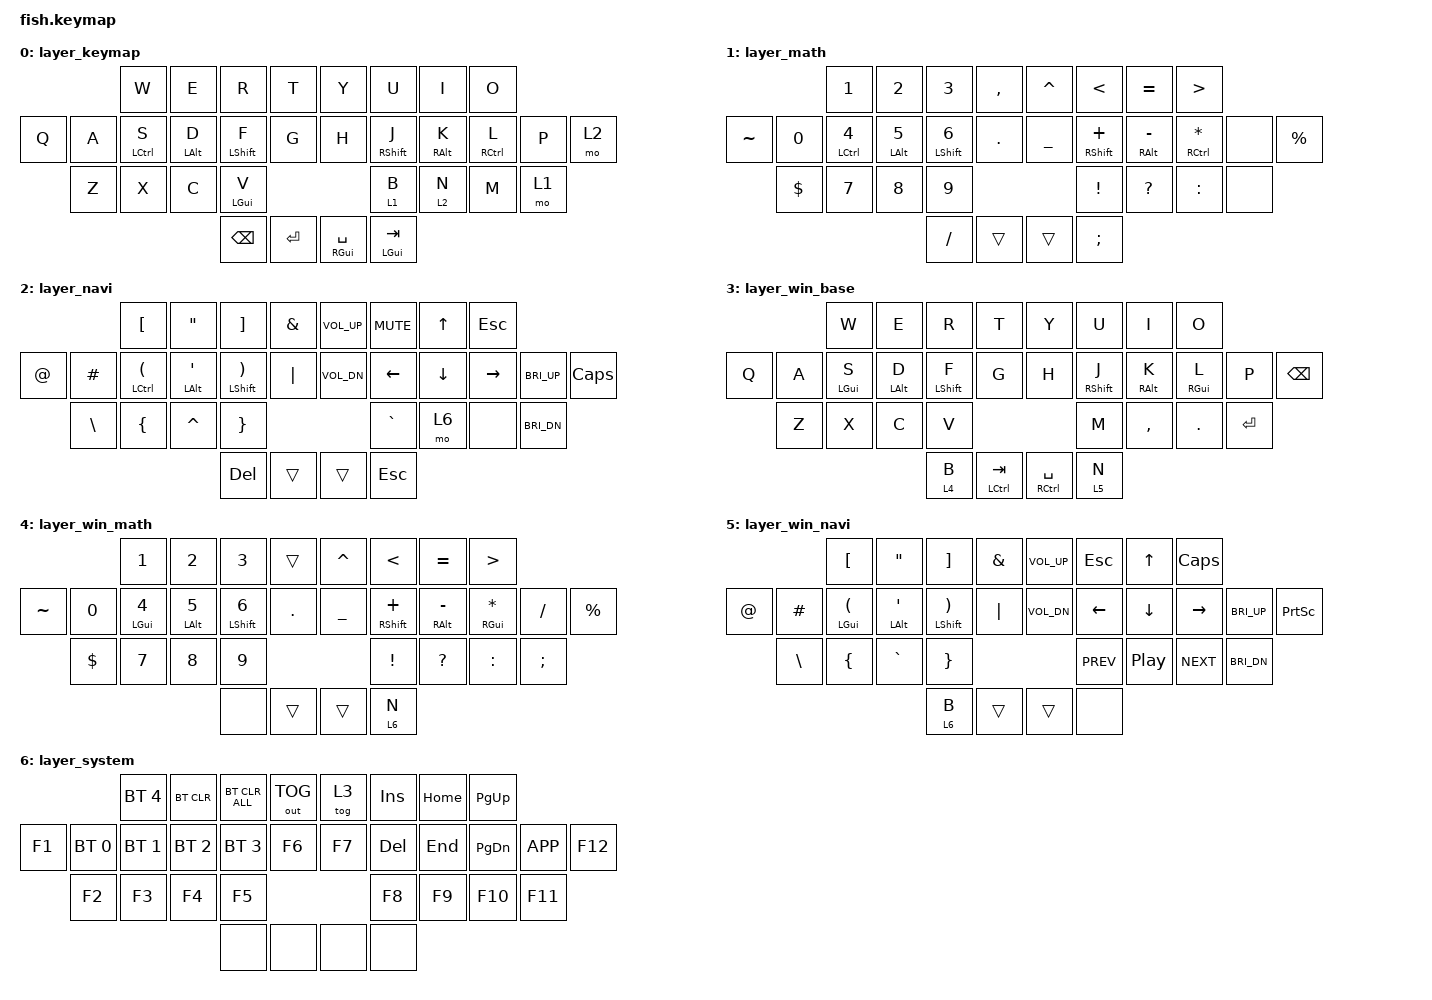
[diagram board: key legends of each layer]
// キーマップを更新する方法は https://o24.works/fish/guide を参照
// 視覚的に編集するには https://o24.works/fish/editor を参照


// 定義を呼んでくる
#include <behaviors.dtsi>
#include <dt-bindings/zmk/keys.h>
#include <dt-bindings/zmk/mouse.h>
#include <dt-bindings/zmk/bt.h>
#include <dt-bindings/zmk/outputs.h>
#include <dt-bindings/zmk/pointing.h>


// 特殊入力の挙動を調整できる

&mt {
    flavor = "tap-preferred";
    quick-tap-ms = <200>;
    require-prior-idle-ms = <150>;
};

&lt {
    flavor = "balanced";
    tapping-term-ms = <175>;
    quick-tap-ms = <200>;
};

&sk {
};

&sl {
};

&caps_word {
};

&key_repeat {
};


/ {
    // 独自の入力を定義できる（上級者向け）

    behaviors {
    };

    macros {
    };

    conditional_layers {
    };


    // 複数キーの同時押しに特別の入力を設定できる
    // キー番号早見表：
    //       0  1  2  3     4  5  6  7
    // 8  9 10 11 12 13    14 15 16 17 18 19
    //   20 21 22 23          24 25 26 27
    //            28 29    30 31

    combos {
        compatible = "zmk,combos";
        timeout-ms = <100>;
        require-prior-idle-ms = <150>;

        combo_lang2 {
            key-positions = <21 22>;
            bindings = <&kp LANG2>;
        };

        combo_lang1 {
            key-positions = <25 26>;
            bindings = <&kp LANG1>;
        };

        combo_reset_L {
            key-positions = <3 8 13>;
            bindings = <&bootloader>;
        };

        combo_reset_R {
            key-positions = <4 14 19>;
            bindings = <&bootloader>;
        };

        combo_none {
            key-positions = <11 16>;
            bindings = <&none>;
        };

        combo_right {
            key-positions = <11 16 19>;
            bindings = <&kp RIGHT>;
        };

        combo_left {
            key-positions = <8 11 16>;
            bindings = <&kp LEFT>;
        };
    };
    

    // キーに入力を割り当てる
    // 型（&...）は https://zmk.dev/docs/behaviors/... を参照
    // キーコードは https://zmk.dev/docs/codes/... を参照

    keymap {
        compatible = "zmk,keymap";

        layer_keymap {
            bindings = <
                        &kp W       &kp E       &kp R       &kp T               &kp Y       &kp U       &kp I       &kp O       
&kp Q       &kp A       &mt LCTRL S &mt LALT D  &mt LSHFT F &kp G               &kp H       &mt RSHFT J &mt RALT K  &mt RCTRL L &kp P       &mo 2       
            &kp Z       &kp X       &kp C       &mt LGUI V                                  &lt 1 B     &lt 2 N     &kp M       &mo 1       
                                                &kp BSPC    &kp RET             &mt RGUI SPACE &mt LGUI TAB 
            >;
        };

        layer_math {
            bindings = <
                        &kp N1      &kp N2      &kp N3      &kp COMMA           &kp CARET   &kp LT      &kp EQUAL   &kp GT      
&kp TILDE   &kp N0      &mt LCTRL N4 &mt LALT N5 &mt LSHFT N6 &kp DOT           &kp UNDER   &mt RSHFT PLUS &mt RALT MINUS &mt RCTRL STAR &none &kp PRCNT 
            &kp DLLR    &kp N7      &kp N8      &kp N9                                      &kp EXCL    &kp QMARK   &kp COLON   &none       
                                                &kp FSLH    &trans              &trans      &kp SEMI    
            >;
        };

        layer_navi {
            bindings = <
                        &kp LBKT    &kp DQT     &kp RBKT    &kp AMPS            &kp C_VOL_UP &kp C_MUTE &kp UP      &kp ESC     
&kp AT      &kp HASH    &mt LCTRL LPAR &mt LALT SQT &mt LSHFT RPAR &kp PIPE     &kp C_VOL_DN &kp LEFT   &kp DOWN    &kp RIGHT   &kp C_BRI_UP &kp CAPS   
            &kp BSLH    &kp LBRC    &kp CARET   &kp RBRC                                    &kp GRAVE  &mo 6    &none  &kp C_BRI_DN 
                                                &kp DEL     &trans              &trans      &kp ESC     
            >;
        };

        layer_win_base {
            bindings = <
                        &kp W       &kp E       &kp R       &kp T               &kp Y       &kp U       &kp I       &kp O       
&kp Q       &kp A       &mt LGUI S  &mt LALT D  &mt LSHFT F &kp G               &kp H       &mt RSHFT J &mt RALT K  &mt RGUI L  &kp P       &kp BSPC    
            &kp Z       &kp X       &kp C       &kp V                                       &kp M       &kp COMMA   &kp DOT     &kp RET     
                                                &lt 4 B     &mt LCTRL TAB       &mt RCTRL SPACE &lt 5 N 
            >;
        };

        layer_win_math {
            bindings = <
                        &kp N1      &kp N2      &kp N3      &trans              &kp CARET   &kp LT      &kp EQUAL   &kp GT      
&kp TILDE   &kp N0      &mt LGUI N4 &mt LALT N5 &mt LSHFT N6 &kp DOT            &kp UNDER   &mt RSHFT PLUS &mt RALT MINUS &mt RGUI STAR &kp FSLH &kp PRCNT 
            &kp DLLR    &kp N7      &kp N8      &kp N9                                      &kp EXCL    &kp QMARK   &kp COLON   &kp SEMI    
                                                &none       &trans              &trans      &lt 6 N     
            >;
        };

        layer_win_navi {
            bindings = <
                        &kp LBKT    &kp DQT     &kp RBKT    &kp AMPS            &kp C_VOL_UP &kp ESC    &kp UP      &kp CAPS    
&kp AT      &kp HASH    &mt LGUI LPAR &mt LALT SQT &mt LSHFT RPAR &kp PIPE      &kp C_VOL_DN &kp LEFT   &kp DOWN    &kp RIGHT   &kp C_BRI_UP &kp PSCRN  
            &kp BSLH    &kp LBRC    &kp GRAVE   &kp RBRC                                    &kp C_PREV  &kp C_PP    &kp C_NEXT  &kp C_BRI_DN 
                                                &lt 6 B     &trans              &trans      &none       
            >;
        };

        layer_system {
            bindings = <
                        &bt BT_SEL 4 &bt BT_CLR &bt BT_CLR_ALL &out OUT_TOG     &tog 3      &kp INS     &kp HOME    &kp PG_UP   
&kp F1      &bt BT_SEL 0 &bt BT_SEL 1 &bt BT_SEL 2 &bt BT_SEL 3 &kp F6          &kp F7      &kp DEL     &kp END     &kp PG_DN   &kp K_APP   &kp F12     
            &kp F2      &kp F3      &kp F4      &kp F5                                      &kp F8      &kp F9      &kp F10     &kp F11     
                                                &none       &none               &none       &none       
            >;
        };
    };
};
